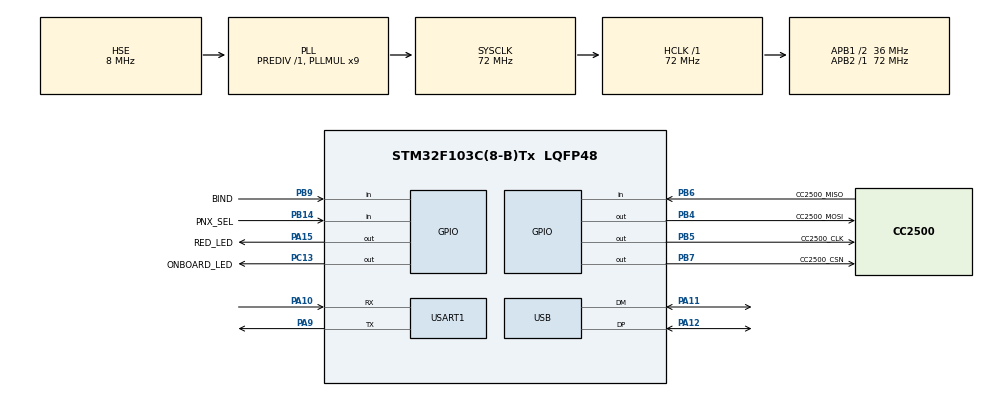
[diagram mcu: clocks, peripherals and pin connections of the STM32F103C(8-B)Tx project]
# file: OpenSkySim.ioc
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Mcu.Family=STM32F1
Mcu.Name=STM32F103C(8-B)Tx
Mcu.Package=LQFP48
NVIC.PriorityGroup=NVIC_PRIORITYGROUP_4
NVIC.TIM3_IRQn=true\:0\:0\:false\:false\:true\:true\:true
NVIC.TIM4_IRQn=true\:0\:0\:false\:false\:true\:true\:true
NVIC.USART1_IRQn=true\:0\:0\:false\:false\:true\:true\:true
NVIC.USB_LP_CAN1_RX0_IRQn=true\:0\:0\:false\:false\:true\:true\:true
PA10.Mode=Asynchronous
PA10.Signal=USART1_RX
PA11.Mode=Device
PA11.Signal=USB_DM
PA12.Mode=Device
PA12.Signal=USB_DP
PA13.Mode=Serial_Wire
PA13.Signal=SYS_JTMS-SWDIO
PA14.Mode=Serial_Wire
PA14.Signal=SYS_JTCK-SWCLK
PA15.GPIO_Label=RED_LED
PA15.Signal=GPIO_Output
PA9.Mode=Asynchronous
PA9.Signal=USART1_TX
PB14.GPIO_Label=PNX_SEL
PB14.GPIO_PuPd=GPIO_PULLUP
PB14.Signal=GPIO_Input
PB4.GPIO_Label=CC2500_MOSI
PB4.GPIO_Speed=GPIO_SPEED_FREQ_LOW
PB4.Signal=GPIO_Output
PB5.GPIO_Label=CC2500_CLK
PB5.Signal=GPIO_Output
PB6.GPIO_Label=CC2500_MISO
PB6.GPIO_PuPd=GPIO_PULLUP
PB6.Signal=GPIO_Input
PB7.GPIO_Label=CC2500_CSN
PB7.Signal=GPIO_Output
PB9.GPIO_Label=BIND
PB9.GPIO_PuPd=GPIO_PULLUP
PB9.Signal=GPIO_Input
PC13-TAMPER-RTC.GPIO_Label=ONBOARD_LED
PC13-TAMPER-RTC.PinState=GPIO_PIN_SET
PC13-TAMPER-RTC.Signal=GPIO_Output
PD0-OSC_IN.Mode=HSE-External-Oscillator
PD0-OSC_IN.Signal=RCC_OSC_IN
PD1-OSC_OUT.Mode=HSE-External-Oscillator
PD1-OSC_OUT.Signal=RCC_OSC_OUT
ProjectManager.HeapSize=0x200
ProjectManager.StackSize=0x400
ProjectManager.TargetToolchain=STM32CubeIDE
RCC.AHBFreq_Value=72000000
RCC.APB1CLKDivider=RCC_HCLK_DIV2
RCC.APB1Freq_Value=36000000
RCC.APB1TimFreq_Value=72000000
RCC.APB2Freq_Value=72000000
RCC.APB2TimFreq_Value=72000000
RCC.HCLKFreq_Value=72000000
RCC.PLLMUL=RCC_PLL_MUL9
RCC.PLLSourceVirtual=RCC_PLLSOURCE_HSE
RCC.SYSCLKFreq_VALUE=72000000
RCC.SYSCLKSource=RCC_SYSCLKSOURCE_PLLCLK
RCC.USBFreq_Value=48000000
RCC.USBPrescaler=RCC_USBCLKSOURCE_PLL_DIV1_5
TIM3.Period=100
TIM3.Prescaler=72
TIM4.Period=65535
TIM4.Prescaler=48
USART1.VirtualMode=VM_ASYNC
USB_DEVICE.CLASS_NAME_FS=CUSTOM_HID
USB_DEVICE.CUSTOM_HID_FS_BINTERVAL=0xA
USB_DEVICE.USBD_CUSTOMHID_OUTREPORT_BUF_SIZE=8
USB_DEVICE.VirtualMode=CustomHid
USB_DEVICE.VirtualModeFS=Custom_Hid_FS
VP_TIM3_VS_ClockSourceINT.Mode=Internal
VP_TIM4_VS_ClockSourceINT.Mode=Internal
VP_USB_DEVICE_VS_USB_DEVICE_CUSTOM_HID_FS.Mode=CUSTOM_HID_FS
board=ppm_stick

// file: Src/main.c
/* USER CODE BEGIN Header */
/**
  ******************************************************************************
  * @file           : main.c
  * @brief          : Main program body
  ******************************************************************************
  * @attention
  *
  * <h2><center>&copy; Copyright (c) 2020 STMicroelectronics.
  * All rights reserved.</center></h2>
  *
  * This software component is licensed by ST under Ultimate Liberty license
  * SLA0044, the "License"; You may not use this file except in compliance with
  * the License. You may obtain a copy of the License at:
  *                             www.st.com/SLA0044
  *
  ******************************************************************************
  */
/* USER CODE END Header */
#include "main.h"
#include "usb_device.h"

/* USER CODE BEGIN Includes */
#include "stm32f1xx_it.h"
#include "stdio.h"
#include "debug.h"
#include "cc25xx.h"
#include "frsky.h"
#include "storage.h"
#include "io.h"
#include "usbd_customhid.h"

/* USER CODE END Includes */

TIM_HandleTypeDef htim3;
TIM_HandleTypeDef htim4;

UART_HandleTypeDef huart1;

/* USER CODE BEGIN PV */
typedef struct _simHID {
  uint8_t thr;
  uint8_t rud;
    uint8_t x;
    uint8_t y;
    uint8_t z;
    uint8_t slid;
    uint8_t btns;
} s_simHID;

typedef struct _simPnx {
    uint8_t ch1;
    uint8_t ch2;
    uint8_t ch3;
    uint8_t ch4;
    uint8_t ch5;
    uint8_t ch6;
    uint8_t ch7;
    uint8_t ch8;
} s_simPnx;

s_simHID reportSim;
s_simPnx reportPnx;

#define REPORT_SIM_SIZE 7
#define REPORT_PNX_SIZE 8

uint8_t PhoenixRCHash = 0;
uint8_t PhoenixRCRepCount = 0;
uint8_t is_phoenix = 1;

/* USER CODE END PV */

void SystemClock_Config(void);
static void MX_GPIO_Init(void);
static void MX_TIM4_Init(void);
static void MX_USART1_UART_Init(void);
static void MX_TIM3_Init(void);
/* USER CODE BEGIN PFP */
static void dwt_init(void);

/* USER CODE END PFP */

int main(void)
{

  /* MCU Configuration--------------------------------------------------------*/

  /* Reset of all peripherals, Initializes the Flash interface and the Systick. */
  HAL_Init();

  /* Configure the system clock */
  SystemClock_Config();

  /* Initialize all configured peripherals */
  MX_GPIO_Init();
  MX_TIM4_Init();
  MX_USART1_UART_Init();
  MX_USB_DEVICE_Init();
  MX_TIM3_Init();
  /* USER CODE BEGIN 2 */
  led_green_off();
  led_red_off();
  dwt_init();
  debug_init();
  cc25xx_init();
  storage_init();
  frsky_init();

  /* USER CODE END 2 */

  /* Infinite loop */
  while (1)
  {

    /* USER CODE BEGIN 3 */
	frsky_main();
  }
  /* USER CODE END 3 */
}

void SystemClock_Config(void)
{
  RCC_OscInitTypeDef RCC_OscInitStruct = {0};
  RCC_ClkInitTypeDef RCC_ClkInitStruct = {0};
  RCC_PeriphCLKInitTypeDef PeriphClkInit = {0};

  /** Initializes the RCC Oscillators according to the specified parameters
  * in the RCC_OscInitTypeDef structure.
  */
  RCC_OscInitStruct.OscillatorType = RCC_OSCILLATORTYPE_HSE;
  RCC_OscInitStruct.HSEState = RCC_HSE_ON;
  RCC_OscInitStruct.HSEPredivValue = RCC_HSE_PREDIV_DIV1;
  RCC_OscInitStruct.HSIState = RCC_HSI_ON;
  RCC_OscInitStruct.PLL.PLLState = RCC_PLL_ON;
  RCC_OscInitStruct.PLL.PLLSource = RCC_PLLSOURCE_HSE;
  RCC_OscInitStruct.PLL.PLLMUL = RCC_PLL_MUL9;
  if (HAL_RCC_OscConfig(&RCC_OscInitStruct) != HAL_OK)
  {
    Error_Handler();
  }
  /** Initializes the CPU, AHB and APB buses clocks
  */
  RCC_ClkInitStruct.ClockType = RCC_CLOCKTYPE_HCLK|RCC_CLOCKTYPE_SYSCLK
                              |RCC_CLOCKTYPE_PCLK1|RCC_CLOCKTYPE_PCLK2;
  RCC_ClkInitStruct.SYSCLKSource = RCC_SYSCLKSOURCE_PLLCLK;
  RCC_ClkInitStruct.AHBCLKDivider = RCC_SYSCLK_DIV1;
  RCC_ClkInitStruct.APB1CLKDivider = RCC_HCLK_DIV2;
  RCC_ClkInitStruct.APB2CLKDivider = RCC_HCLK_DIV1;

  if (HAL_RCC_ClockConfig(&RCC_ClkInitStruct, FLASH_LATENCY_2) != HAL_OK)
  {
    Error_Handler();
  }
  PeriphClkInit.PeriphClockSelection = RCC_PERIPHCLK_USB;
  PeriphClkInit.UsbClockSelection = RCC_USBCLKSOURCE_PLL_DIV1_5;
  if (HAL_RCCEx_PeriphCLKConfig(&PeriphClkInit) != HAL_OK)
  {
    Error_Handler();
  }
}

static void MX_TIM3_Init(void)
{

  TIM_ClockConfigTypeDef sClockSourceConfig = {0};
  TIM_MasterConfigTypeDef sMasterConfig = {0};

  htim3.Instance = TIM3;
  htim3.Init.Prescaler = 72;
  htim3.Init.CounterMode = TIM_COUNTERMODE_UP;
  htim3.Init.Period = 100;
  htim3.Init.ClockDivision = TIM_CLOCKDIVISION_DIV1;
  htim3.Init.AutoReloadPreload = TIM_AUTORELOAD_PRELOAD_DISABLE;
  if (HAL_TIM_Base_Init(&htim3) != HAL_OK)
  {
    Error_Handler();
  }
  sClockSourceConfig.ClockSource = TIM_CLOCKSOURCE_INTERNAL;
  if (HAL_TIM_ConfigClockSource(&htim3, &sClockSourceConfig) != HAL_OK)
  {
    Error_Handler();
  }
  sMasterConfig.MasterOutputTrigger = TIM_TRGO_RESET;
  sMasterConfig.MasterSlaveMode = TIM_MASTERSLAVEMODE_DISABLE;
  if (HAL_TIMEx_MasterConfigSynchronization(&htim3, &sMasterConfig) != HAL_OK)
  {
    Error_Handler();
  }
  /* USER CODE BEGIN TIM3_Init 2 */
  HAL_TIM_Base_Start_IT(&htim3);
  /* USER CODE END TIM3_Init 2 */

}

static void MX_TIM4_Init(void)
{

  TIM_ClockConfigTypeDef sClockSourceConfig = {0};
  TIM_MasterConfigTypeDef sMasterConfig = {0};

  htim4.Instance = TIM4;
  htim4.Init.Prescaler = 48;
  htim4.Init.CounterMode = TIM_COUNTERMODE_UP;
  htim4.Init.Period = 65535;
  htim4.Init.ClockDivision = TIM_CLOCKDIVISION_DIV1;
  htim4.Init.AutoReloadPreload = TIM_AUTORELOAD_PRELOAD_DISABLE;
  if (HAL_TIM_Base_Init(&htim4) != HAL_OK)
  {
    Error_Handler();
  }
  sClockSourceConfig.ClockSource = TIM_CLOCKSOURCE_INTERNAL;
  if (HAL_TIM_ConfigClockSource(&htim4, &sClockSourceConfig) != HAL_OK)
  {
    Error_Handler();
  }
  sMasterConfig.MasterOutputTrigger = TIM_TRGO_RESET;
  sMasterConfig.MasterSlaveMode = TIM_MASTERSLAVEMODE_DISABLE;
  if (HAL_TIMEx_MasterConfigSynchronization(&htim4, &sMasterConfig) != HAL_OK)
  {
    Error_Handler();
  }

}

static void MX_USART1_UART_Init(void)
{

  huart1.Instance = USART1;
  huart1.Init.BaudRate = 115200;
  huart1.Init.WordLength = UART_WORDLENGTH_8B;
  huart1.Init.StopBits = UART_STOPBITS_1;
  huart1.Init.Parity = UART_PARITY_NONE;
  huart1.Init.Mode = UART_MODE_TX_RX;
  huart1.Init.HwFlowCtl = UART_HWCONTROL_NONE;
  huart1.Init.OverSampling = UART_OVERSAMPLING_16;
  if (HAL_UART_Init(&huart1) != HAL_OK)
  {
    Error_Handler();
  }

}

static void MX_GPIO_Init(void)
{
  GPIO_InitTypeDef GPIO_InitStruct = {0};

  /* GPIO Ports Clock Enable */
  __HAL_RCC_GPIOC_CLK_ENABLE();
  __HAL_RCC_GPIOD_CLK_ENABLE();
  __HAL_RCC_GPIOB_CLK_ENABLE();
  __HAL_RCC_GPIOA_CLK_ENABLE();

  /*Configure GPIO pin Output Level */
  HAL_GPIO_WritePin(ONBOARD_LED_GPIO_Port, ONBOARD_LED_Pin, GPIO_PIN_SET);

  /*Configure GPIO pin Output Level */
  HAL_GPIO_WritePin(RED_LED_GPIO_Port, RED_LED_Pin, GPIO_PIN_RESET);

  /*Configure GPIO pin Output Level */
  HAL_GPIO_WritePin(GPIOB, CC2500_MOSI_Pin|CC2500_CLK_Pin|CC2500_CSN_Pin, GPIO_PIN_RESET);

  /*Configure GPIO pin : ONBOARD_LED_Pin */
  GPIO_InitStruct.Pin = ONBOARD_LED_Pin;
  GPIO_InitStruct.Mode = GPIO_MODE_OUTPUT_PP;
  GPIO_InitStruct.Pull = GPIO_NOPULL;
  GPIO_InitStruct.Speed = GPIO_SPEED_FREQ_LOW;
  HAL_GPIO_Init(ONBOARD_LED_GPIO_Port, &GPIO_InitStruct);

  /*Configure GPIO pins : PNX_SEL_Pin CC2500_MISO_Pin BIND_Pin */
  GPIO_InitStruct.Pin = PNX_SEL_Pin|CC2500_MISO_Pin|BIND_Pin;
  GPIO_InitStruct.Mode = GPIO_MODE_INPUT;
  GPIO_InitStruct.Pull = GPIO_PULLUP;
  HAL_GPIO_Init(GPIOB, &GPIO_InitStruct);

  /*Configure GPIO pin : RED_LED_Pin */
  GPIO_InitStruct.Pin = RED_LED_Pin;
  GPIO_InitStruct.Mode = GPIO_MODE_OUTPUT_PP;
  GPIO_InitStruct.Pull = GPIO_NOPULL;
  GPIO_InitStruct.Speed = GPIO_SPEED_FREQ_LOW;
  HAL_GPIO_Init(RED_LED_GPIO_Port, &GPIO_InitStruct);

  /*Configure GPIO pins : CC2500_MOSI_Pin CC2500_CLK_Pin CC2500_CSN_Pin */
  GPIO_InitStruct.Pin = CC2500_MOSI_Pin|CC2500_CLK_Pin|CC2500_CSN_Pin;
  GPIO_InitStruct.Mode = GPIO_MODE_OUTPUT_PP;
  GPIO_InitStruct.Pull = GPIO_NOPULL;
  GPIO_InitStruct.Speed = GPIO_SPEED_FREQ_LOW;
  HAL_GPIO_Init(GPIOB, &GPIO_InitStruct);

}

/* USER CODE BEGIN 4 */
static void dwt_init(void)
{
	CoreDebug->DEMCR |= CoreDebug_DEMCR_TRCENA_Msk;
    //DWT->LAR = 0xC5ACCE55;
    DWT->CYCCNT = 0;
    DWT->CTRL |= DWT_CTRL_CYCCNTENA_Msk;
}

#pragma GCC push_options
#pragma GCC optimize ("O3")
void delay_us(uint32_t us) {
	volatile uint32_t cycles = (SystemCoreClock/1000000L)*us;
	volatile uint32_t start = DWT->CYCCNT;
	do  {
	} while(DWT->CYCCNT - start < cycles);
}
#pragma GCC pop_options

uint8_t frsky_to_byte(uint16_t channel)
{
	// map frsky data to single byte
	// frsky seems to send us*1.5 (~1480...3020)
	// frsky span is 3020-1480  = 1540
	int val = channel - 1480;
	if (val < 0)
		val = 0;
	val = (val * 255) / 1540;
	if (val > 255)
		val = 255;
	return (uint8_t)val;
}

static void UpdatePhoenixHash()
{
  if (PhoenixRCRepCount > 0)
  {
    PhoenixRCRepCount--;
    if (PhoenixRCRepCount == 0)
      PhoenixRCHash = 0;
  }
}

static void hid_update_sim(uint16_t *channels)
{
  uint8_t ch7, ch8;
  reportSim.x = frsky_to_byte(channels[0]);
  reportSim.y = frsky_to_byte(channels[1]);
  reportSim.z = frsky_to_byte(channels[4]);
  reportSim.thr = frsky_to_byte(channels[2]);
  reportSim.rud = frsky_to_byte(channels[3]);
  reportSim.slid = frsky_to_byte(channels[5]);
  ch7 = frsky_to_byte(channels[6]);
  ch8 = frsky_to_byte(channels[7]);
  reportSim.btns = 0;
  if (ch7 > 196)
    reportSim.btns |= 1;
  else if (ch7 > 64)
    reportSim.btns |= 4;
  if (ch8 > 196)
    reportSim.btns |= 2;
  else if (ch8 > 64)
    reportSim.btns |= 8;

  USBD_CUSTOM_HID_SendReport(&hUsbDeviceFS, (uint8_t*)&reportSim, REPORT_SIM_SIZE);
}

static void hid_update_pnx(uint16_t *channels)
{
  reportPnx.ch1 = frsky_to_byte(channels[0]);
  reportPnx.ch2 = PhoenixRCHash;
  reportPnx.ch3 = frsky_to_byte(channels[1]);
  reportPnx.ch4 = frsky_to_byte(channels[2]);
  reportPnx.ch5 = frsky_to_byte(channels[3]);
  reportPnx.ch6 = frsky_to_byte(channels[4]);
  reportPnx.ch7 = frsky_to_byte(channels[5]);
  reportPnx.ch8 = 0x00;

  USBD_CUSTOM_HID_SendReport(&hUsbDeviceFS, (uint8_t*)&reportPnx, REPORT_PNX_SIZE);
}

void hid_update(uint16_t *channels)
{
  if (is_phoenix)
    hid_update_pnx(channels);
  else
    hid_update_sim(channels);
}

static void hid_update_sim_null(void)
{
  reportSim.x = 0x80;
  reportSim.y = 0x80;
  reportSim.z = 0x80;
  reportSim.thr = 0x00;
  reportSim.rud = 0x80;
  reportSim.slid = 0x80;
  reportSim.btns = 0;
  USBD_CUSTOM_HID_SendReport(&hUsbDeviceFS, (uint8_t*)&reportSim, REPORT_SIM_SIZE);
}

static void hid_update_pnx_null(void)
{
  UpdatePhoenixHash();
  reportPnx.ch1 = 0xff;
  reportPnx.ch2 = PhoenixRCHash;
  reportPnx.ch3 = 0xff;
  reportPnx.ch4 = 0xff;
  reportPnx.ch5 = 0xff;
  reportPnx.ch6 = 0x00;
  reportPnx.ch7 = 0x00;
  reportPnx.ch8 = 0x00;
  USBD_CUSTOM_HID_SendReport(&hUsbDeviceFS, (uint8_t*)&reportPnx, REPORT_PNX_SIZE);
}

void hid_update_null(void)
{
  if (is_phoenix)
    hid_update_pnx_null();
  else
    hid_update_sim_null();
}

void HandleSetReport(void)
{
  uint8_t i;
  uint8_t type;
  uint32_t sum;
  uint8_t *b;

  PhoenixRCHash = 0;
  USBD_CUSTOM_HID_HandleTypeDef *hhid = (USBD_CUSTOM_HID_HandleTypeDef *)hUsbDeviceFS.pClassData;
  b = hhid->Report_buf;

  // calculate phoenixrc hash
  type = b[2];
  if (type > 0)
    type--;
  type >>= 5;
  // 1. calculate sum
  switch (type) {
  case 0: sum = b[6]; break;
  case 1: sum = b[3]; break;
  case 2: sum = b[4] + b[5]; break;
  case 3: sum = b[1] + b[6]; break;
  case 4: sum = b[0] + b[7]; break;
  case 5: sum = b[5] + b[6]; break;
  case 6: sum = b[0] + b[1] + b[3] + b[4]; break;
  case 7:
    sum = 0;
    for(i = 0; i < 8; i++)
      if (i != 2)
        sum += b[i];
    break;
  }
  // 2. calc hash
  type &= 3;
  switch (type) {
  case 0: PhoenixRCHash = (uint8_t)(((sum * 8) & 0x7F) + 0x0D); break;
  case 1: PhoenixRCHash = (uint8_t)(((sum * 2) & 0x3F) + 0x12); break;
  case 2: PhoenixRCHash = (uint8_t)((((sum + 8) / 2) & 0x1F) + 0x10); break;
  case 3: PhoenixRCHash = (uint8_t)((((sum + 4) / 8) & 0xF) + 0x18); break;
  }
  PhoenixRCRepCount = 250;
}

/* USER CODE END 4 */

void Error_Handler(void)
{
}

/************************ (C) COPYRIGHT STMicroelectronics *****END OF FILE****/
